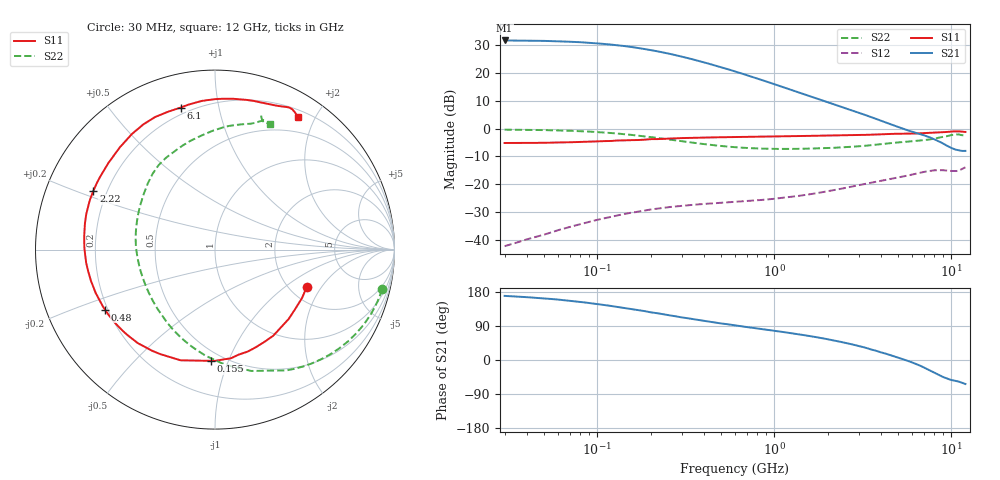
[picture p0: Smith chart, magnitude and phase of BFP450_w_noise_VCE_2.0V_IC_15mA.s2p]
! (c) 2015  Infineon Technologies AG, Munich
! Infineon Technologies  Discrete & RF Semiconductors
! BFP450
! VCE =  2.0 V,  IC =  15 mA
! Common Emitter S-Parameters:  Nov 2015
# GHz  S  MA  R  50
!  f  S11  S21  S12  S22
! GHz  MAG  ANG  MAG  ANG  MAG  ANG  MAG  ANG
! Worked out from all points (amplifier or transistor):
!   239 points, 30 MHz to 12 GHz, reference 50 ohm
!   highest |S21| = 31.7 dB at 30 MHz (marker M1)
!   |S21| within 3 dB of that: start of sweep to 181.7 MHz
!   unconditionally stable (mu >= 1): 1.817 GHz to end of sweep
!   at 300 MHz: K = 0.23, MSG = 26.8 dB, |S12| = -27.7 dB
!   at 1.88 GHz: K = 1.01, MAG = 15.7 dB, |S12| = -22.8 dB
!   at 12 GHz: K = 1.11, MAG = 0.9 dB, |S12| = -13.9 dB
!   lowest NFmin = 1.04 dB at 450 MHz
!   S11 on the Smith chart (normalised r, x): 30 MHz: 2.47, -1.47; 155 MHz: 0.43, -0.87; 480 MHz: 0.19, -0.25; 2.22 GHz: 0.15, +0.22; 6.1 GHz: 0.16, +0.77; 12 GHz: 0.29, +1.78
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0.03  0.5516 -22.1  38.47 169.2  0.0077 82.3  0.9583 -13.4
0.04  0.5548 -29.0  38.13 165.8  0.0102 78.9  0.9506 -17.8
0.055  0.5591 -40.1  37.48 161.0  0.0136 74.2  0.9346 -24.3
0.075  0.573 -52.9  36.12 154.8  0.0181 69.5  0.9073 -32.6
0.085  0.5804 -58.9  35.34 151.9  0.0201 66.9  0.8918 -36.5
0.1  0.5897 -67.3  34.1 147.7  0.0229 63.5  0.8675 -42.3
0.12  0.5997 -77.2  32.39 142.5  0.0261 59.2  0.8332 -49.5
0.155  0.6203 -92.0  29.45 134.7  0.0307 53.1  0.773 -60.6
0.2  0.646 -107.3  25.84 125.9  0.0351 46.9  0.7055 -73.4
0.24  0.6568 -117.4  23.15 120.1  0.0379 42.7  0.6534 -82.6
0.3  0.6759 -129.7  19.7 112.4  0.041 38.3  0.5939 -95.0
0.34  0.6817 -135.8  17.86 108.6  0.0424 36.1  0.5628 -101.7
0.4  0.6906 -143.6  15.54 103.2  0.0442 33.7  0.5274 -110.8
0.48  0.6982 -151.4  13.19 97.8  0.046 31.8  0.4938 -120.7
0.6  0.7074 -160.1  10.63 91.2  0.0482 30.2  0.4635 -132.6
0.8  0.7168 -170.3  7.942 83.1  0.0515 29.7  0.4402 -147.0
1  0.7242 -177.6  6.281 77.0  0.0548 30.2  0.4325 -157.6
1.64  0.7422 165.9  3.71 62.0  0.0671 31.6  0.4386 -179.8
2.22  0.7529 154.2  2.672 50.6  0.0794 30.7  0.4537 166.0
4.5  0.8037 119.8  1.206 13.1  0.1233 16.6  0.5476 129.3
6.1  0.8143 103.6  0.865 -7.6  0.151 4.6  0.5953 111.2
12  0.8711 57.8  0.398 -63.3  0.202 -39.9  0.7646 66.4
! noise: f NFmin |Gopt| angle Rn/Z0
0.45  1.04  0.28  177  0.05
0.9  1.09  0.34  174  0.07
1.9  1.26  0.48  -168  0.06
2.4  1.42  0.51  -157  0.08
